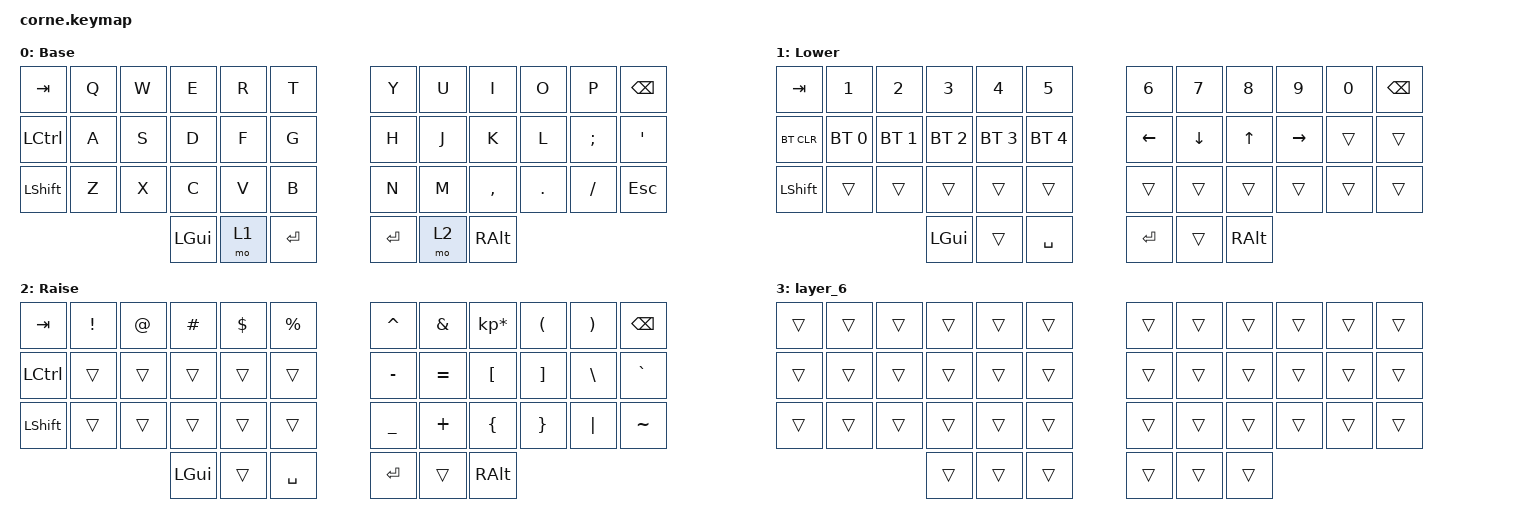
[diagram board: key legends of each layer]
/*
 * Copyright (c) 2020 The ZMK Contributors
 *
 * SPDX-License-Identifier: MIT
 */

#include <behaviors.dtsi>
#include <dt-bindings/zmk/bt.h>
#include <dt-bindings/zmk/keys.h>

/ {
    behaviors {
        new_behavior: new_behavior {
            compatible = "zmk,behavior-hold-tap";
            label = "NEW_BEHAVIOR";
            bindings = <&none>, <&none>;

            #binding-cells = <2>;
            tapping-term-ms = <(-2)>;
        };
    };

    keymap {
        compatible = "zmk,keymap";

        default_layer {
            // -----------------------------------------------------------------------------------------
            // |  TAB |  Q  |  W  |  E  |  R  |  T  |   |  Y  |  U   |  I  |  O  |  P  | BKSP |
            // | CTRL |  A  |  S  |  D  |  F  |  G  |   |  H  |  J   |  K  |  L  |  ;  |  '   |
            // | SHFT |  Z  |  X  |  C  |  V  |  B  |   |  N  |  M   |  ,  |  .  |  /  | ESC  |
            //                    | GUI | LWR | SPC |   | ENT | RSE  | ALT |

            display-name = "Base";
            bindings = <
&kp TAB    &kp Q  &kp W  &kp E     &kp R  &kp T        &kp Y    &kp U  &kp I      &kp O    &kp P     &kp BSPC
&kp LCTRL  &kp A  &kp S  &kp D     &kp F  &kp G        &kp H    &kp J  &kp K      &kp L    &kp SEMI  &kp SQT
&kp LSHFT  &kp Z  &kp X  &kp C     &kp V  &kp B        &kp N    &kp M  &kp COMMA  &kp DOT  &kp FSLH  &kp ESC
                         &kp LGUI  &mo 1  &kp ENTER    &kp RET  &mo 2  &kp RALT
            >;
        };

        lower_layer {
            // -----------------------------------------------------------------------------------------
            // |  TAB |  1  |  2  |  3  |  4  |  5  |   |  6  |  7  |  8  |  9  |  0  | BKSP |
            // | BTCLR| BT1 | BT2 | BT3 | BT4 | BT5 |   | LFT | DWN |  UP | RGT |     |      |
            // | SHFT |     |     |     |     |     |   |     |     |     |     |     |      |
            //                    | GUI |     | SPC |   | ENT |     | ALT |

            display-name = "Lower";
            bindings = <
&kp TAB     &kp N1        &kp N2        &kp N3        &kp N4        &kp N5          &kp N6    &kp N7    &kp N8    &kp N9     &kp N0  &kp BSPC
&bt BT_CLR  &bt BT_SEL 0  &bt BT_SEL 1  &bt BT_SEL 2  &bt BT_SEL 3  &bt BT_SEL 4    &kp LEFT  &kp DOWN  &kp UP    &kp RIGHT  &trans  &trans
&kp LSHFT   &trans        &trans        &trans        &trans        &trans          &trans    &trans    &trans    &trans     &trans  &trans
                                        &kp LGUI      &trans        &kp SPACE       &kp RET   &trans    &kp RALT
            >;
        };

        raise_layer {
            // -----------------------------------------------------------------------------------------
            // |  TAB |  !  |  @  |  #  |  $  |  %  |   |  ^  |  &  |  *  |  (  |  )  | BKSP |
            // | CTRL |     |     |     |     |     |   |  -  |  =  |  [  |  ]  |  \  |  `   |
            // | SHFT |     |     |     |     |     |   |  _  |  +  |  {  |  }  | "|" |  ~   |
            //                    | GUI |     | SPC |   | ENT |     | ALT |

            display-name = "Raise";
            bindings = <
&kp TAB    &kp EXCL  &kp AT  &kp HASH  &kp DLLR  &kp PRCNT    &kp CARET  &kp AMPS   &kp KP_MULTIPLY  &kp LPAR  &kp RPAR  &kp BSPC
&kp LCTRL  &trans    &trans  &trans    &trans    &trans       &kp MINUS  &kp EQUAL  &kp LBKT         &kp RBKT  &kp BSLH  &kp GRAVE
&kp LSHFT  &trans    &trans  &trans    &trans    &trans       &kp UNDER  &kp PLUS   &kp LBRC         &kp RBRC  &kp PIPE  &kp TILDE
                             &kp LGUI  &trans    &kp SPACE    &kp RET    &trans     &kp RALT
            >;
        };

        extra_1 { status = "reserved"; };

        extra_2 { status = "reserved"; };

        extra_3 { status = "reserved"; };

        layer_6 {
            bindings = <
&trans  &trans  &trans  &trans  &trans  &trans    &trans  &trans  &trans  &trans  &trans  &trans
&trans  &trans  &trans  &trans  &trans  &trans    &trans  &trans  &trans  &trans  &trans  &trans
&trans  &trans  &trans  &trans  &trans  &trans    &trans  &trans  &trans  &trans  &trans  &trans
                        &trans  &trans  &trans    &trans  &trans  &trans
            >;
        };
    };

    conditional_layers {
        compatible = "zmk,conditional-layers";

        testcond {
            if-layers = <1>;
            then-layer = <4>;
        };

        testcond2 {
            if-layers = <3>;
            then-layer = <4>;
        };
    };
};
